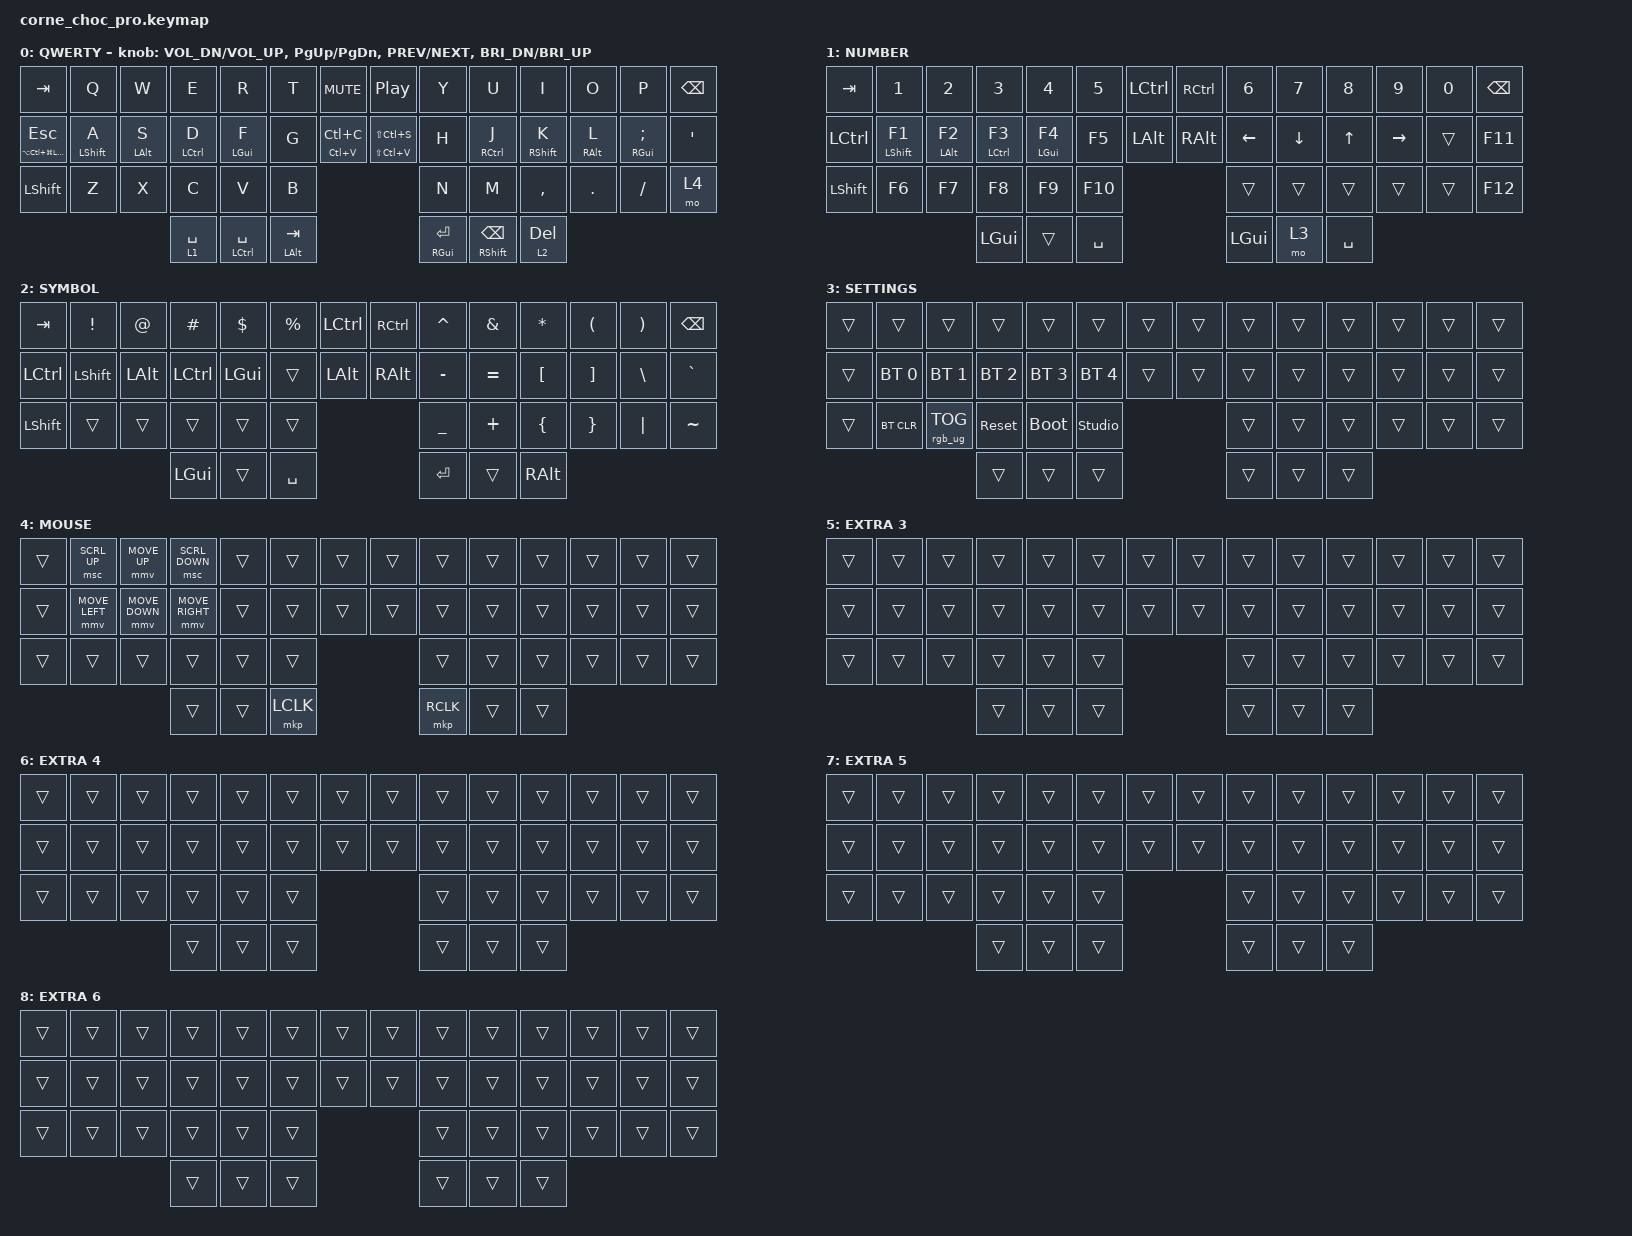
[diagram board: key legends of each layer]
/*
 * Copyright (c) 2020 The ZMK Contributors
 *
 * SPDX-License-Identifier: MIT
 */


#include <behaviors.dtsi>
#include <dt-bindings/zmk/bt.h>
#include <dt-bindings/zmk/keys.h>
#include <dt-bindings/zmk/pointing.h>
#include <dt-bindings/zmk/rgb.h>

/ {
    chosen {
        zmk,physical-layout = &default_layout;
    };
};
/ {
    keymap {
        compatible = "zmk,keymap";

        default_layer {
            display-name = "QWERTY";

            // --------------------------------------------------------------------------------
            // |  TAB |  Q  |  W  |  E  |  R  |  T  |  MUTE |  PP   |  Y  |  U   |  I  |  O  |  P  | BSPC |
            // |HYPR/ESC| A  |  S  |  D  |  F  |  G  |  LALT |  RALT |  H  |  J   |  K  |  L  |  ;  |  '   |
            // | SHFT |  Z  |  X  |  C  |  V  |  B  |               |  N  |  M   |  ,  |  .  |  /  | ESC  |
            //                    | GUI | LWR | SPC |               | ENT | RSE  | ALT |
            // Encoders: Vol Up/Dn | Pg Up/Dn | Media Prev/Next | Brightness Up/Dn

            bindings = <
&kp TAB                            &kp Q             &kp W           &kp E               &kp R                   &kp T             &kp C_MUTE       &kp C_PP                 &kp Y                &kp U                      &kp I              &kp O            &kp P               &kp BSPC
&mt LA(LC(LG(LEFT_SHIFT))) ESCAPE  &mt LEFT_SHIFT A  &mt LEFT_ALT S  &mt LEFT_CONTROL D  &mt LEFT_GUI F          &kp G             &mt LC(V) LC(C)  &mt LS(LC(V)) LS(LC(S))  &kp H                &mt RIGHT_CONTROL J        &mt RIGHT_SHIFT K  &mt RIGHT_ALT L  &mt RIGHT_GUI SEMI  &kp SQT
&kp LSHFT                          &kp Z             &kp X           &kp C               &kp V                   &kp B                                                       &kp N                &kp M                      &kp COMMA          &kp DOT          &kp FSLH            &mo 4
                                                                     &lt 1 SPACE         &mt LEFT_CONTROL SPACE  &mt LEFT_ALT TAB                                            &mt RIGHT_GUI ENTER  &mt RIGHT_SHIFT BACKSPACE  &lt 2 DELETE
            >;

            sensor-bindings = <&inc_dec_kp C_VOL_DN C_VOL_UP &inc_dec_kp PG_UP PG_DN &inc_dec_kp C_PREV C_NEXT &inc_dec_kp C_BRI_DN C_BRI_UP>;
        };

        lower_layer {
            display-name = "NUMBER";

            // -----------------------------------------------------------------------------------------
            // |  TAB |  1  |  2  |  3  |  4  |  5  |  LCTRL | RCTRL |  6  |  7  |  8  |  9  |  0  | BSPC |
            // | CTRL | F1  | F2  | F3  | F4  | F5  |  LALT  | RALT  | LFT | DWN |  UP | RGT |     | F11  |
            // | SHFT | F6  | F7  | F8  | F9  | F10 |        |       |     |     |     |     |     | F12  |
            //                    | GUI |     | SPC  |        | ENT   |     | ALT |

            bindings = <
&kp TAB    &kp N1             &kp N2           &kp N3               &kp N4           &kp N5     &kp LCTRL  &kp RCTRL  &kp N6    &kp N7    &kp N8     &kp N9     &kp N0  &kp BSPC
&kp LCTRL  &mt LEFT_SHIFT F1  &mt LEFT_ALT F2  &mt LEFT_CONTROL F3  &mt LEFT_GUI F4  &kp F5     &kp LALT   &kp RALT   &kp LEFT  &kp DOWN  &kp UP     &kp RIGHT  &trans  &kp F11
&kp LSHFT  &kp F6             &kp F7           &kp F8               &kp F9           &kp F10                          &trans    &trans    &trans     &trans     &trans  &kp F12
                                               &kp LGUI             &trans           &kp SPACE                        &kp LGUI  &mo 3     &kp SPACE
            >;
        };

        raise_layer {
            display-name = "SYMBOL";

            // -----------------------------------------------------------------------------------------
            // |  TAB |  !  |  @  |  #  |  $  |  %  | LCTRL | RCTRL |  ^  |  &  |  *  |  (  |  )  | BSPC |
            // | CTRL | SHFT| ALT | CTRL| GUI |     |  LALT | RALT  |  -  |  =  |  [  |  ]  |  \  |  `   |
            // | SHFT |     |     |     |     |     |               |  _  |  +  |  {  |  }  | "|" |  ~   |
            //                    | GUI |     | SPC |               | ENT |     | ALT |

            bindings = <
&kp TAB    &kp EXCL        &kp AT        &kp HASH          &kp DLLR      &kp PRCNT  &kp LCTRL  &kp RCTRL  &kp CARET  &kp AMPS   &kp ASTRK  &kp LPAR  &kp RPAR  &kp BSPC
&kp LCTRL  &kp LEFT_SHIFT  &kp LEFT_ALT  &kp LEFT_CONTROL  &kp LEFT_GUI  &trans     &kp LALT   &kp RALT   &kp MINUS  &kp EQUAL  &kp LBKT   &kp RBKT  &kp BSLH  &kp GRAVE
&kp LSHFT  &trans          &trans        &trans            &trans        &trans                           &kp UNDER  &kp PLUS   &kp LBRC   &kp RBRC  &kp PIPE  &kp TILDE
                                         &kp LGUI          &trans        &kp SPACE                        &kp RET    &trans     &kp RALT
            >;
        };

        settings_layer {
            display-name = "SETTINGS";

            // -----------------------------------------------------------------------------------------
            // |      |     |     |     |     |     |       |       |     |     |     |     |     |      |
            // |      | BT1 | BT2 | BT3 | BT4 | BT5 |       |       |     |     |     |     |     |      |
            // |      | BTCL| RGB | RST | BOOT| UNLK|               |     |     |     |     |     |      |
            //                    |     |     |     |               |     |     |     |
            // Bluetooth Profiles | Clear BT | RGB Toggle | Reset | Bootloader | ZMK Studio Unlock

            bindings = <
&trans  &trans        &trans           &trans        &trans        &trans          &trans  &trans  &trans  &trans  &trans  &trans  &trans  &trans
&trans  &bt BT_SEL 0  &bt BT_SEL 1     &bt BT_SEL 2  &bt BT_SEL 3  &bt BT_SEL 4    &trans  &trans  &trans  &trans  &trans  &trans  &trans  &trans
&trans  &bt BT_CLR    &rgb_ug RGB_TOG  &sys_reset    &bootloader   &studio_unlock                  &trans  &trans  &trans  &trans  &trans  &trans
                                       &trans        &trans        &trans                          &trans  &trans  &trans
            >;
        };

        mouselayer {
            display-name = "MOUSE";
            // -----------------------------------------------------------------------------------------
            // |      |SCRUP |MUP  |SCRD |     |     |       |       |     |     |     |     |     |      |
            // |      |MLFT |MDWN |MRGT |     |     |       |       |     |     |     |     |     |      |
            // |      |     |     |     |     |     |               |     |     |     |     |     |      |
            //                    |     |     |LCLK |               |RCLK |     |     |

            bindings = <
&trans  &msc SCRL_UP    &mmv MOVE_UP    &msc SCRL_DOWN   &trans  &trans     &trans  &trans  &trans     &trans  &trans  &trans  &trans  &trans
&trans  &mmv MOVE_LEFT  &mmv MOVE_DOWN  &mmv MOVE_RIGHT  &trans  &trans     &trans  &trans  &trans     &trans  &trans  &trans  &trans  &trans
&trans  &trans          &trans          &trans           &trans  &trans                     &trans     &trans  &trans  &trans  &trans  &trans
                                        &trans           &trans  &mkp LCLK                  &mkp RCLK  &trans  &trans
            >;
        };

        extra_layer_3 {
            display-name = "EXTRA 3";
            bindings = <
&trans  &trans  &trans  &trans  &trans  &trans  &trans  &trans  &trans  &trans  &trans  &trans  &trans  &trans
&trans  &trans  &trans  &trans  &trans  &trans  &trans  &trans  &trans  &trans  &trans  &trans  &trans  &trans
&trans  &trans  &trans  &trans  &trans  &trans                  &trans  &trans  &trans  &trans  &trans  &trans
                        &trans  &trans  &trans                  &trans  &trans  &trans
            >;
        };

        extra_layer_4 {
            display-name = "EXTRA 4";
            bindings = <
&trans  &trans  &trans  &trans  &trans  &trans  &trans  &trans  &trans  &trans  &trans  &trans  &trans  &trans
&trans  &trans  &trans  &trans  &trans  &trans  &trans  &trans  &trans  &trans  &trans  &trans  &trans  &trans
&trans  &trans  &trans  &trans  &trans  &trans                  &trans  &trans  &trans  &trans  &trans  &trans
                        &trans  &trans  &trans                  &trans  &trans  &trans
            >;
        };

        extra_layer_5 {
            display-name = "EXTRA 5";
            bindings = <
&trans  &trans  &trans  &trans  &trans  &trans  &trans  &trans  &trans  &trans  &trans  &trans  &trans  &trans
&trans  &trans  &trans  &trans  &trans  &trans  &trans  &trans  &trans  &trans  &trans  &trans  &trans  &trans
&trans  &trans  &trans  &trans  &trans  &trans                  &trans  &trans  &trans  &trans  &trans  &trans
                        &trans  &trans  &trans                  &trans  &trans  &trans
            >;
        };

        extra_layer_6 {
            display-name = "EXTRA 6";
            bindings = <
&trans  &trans  &trans  &trans  &trans  &trans  &trans  &trans  &trans  &trans  &trans  &trans  &trans  &trans
&trans  &trans  &trans  &trans  &trans  &trans  &trans  &trans  &trans  &trans  &trans  &trans  &trans  &trans
&trans  &trans  &trans  &trans  &trans  &trans                  &trans  &trans  &trans  &trans  &trans  &trans
                        &trans  &trans  &trans                  &trans  &trans  &trans
            >;
        };
    };
};
